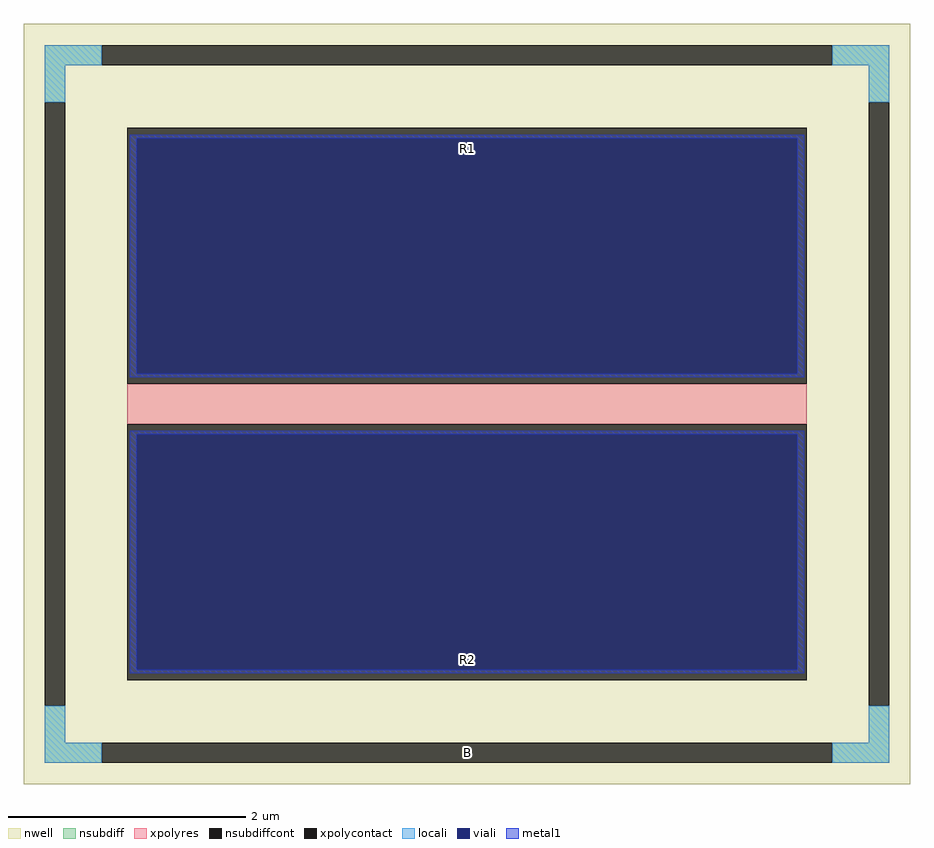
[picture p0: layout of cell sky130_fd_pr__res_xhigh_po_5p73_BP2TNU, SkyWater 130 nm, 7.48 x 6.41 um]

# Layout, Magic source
magic
tech sky130A
magscale 1 2
<< nwell >>
rect -748 -641 748 641
<< nsubdiff >>
rect -712 571 -616 605
rect 616 571 712 605
rect -712 509 -678 571
rect 678 509 712 571
rect -712 -571 -678 -509
rect 678 -571 712 -509
rect -712 -605 -616 -571
rect 616 -605 712 -571
<< nsubdiffcont >>
rect -616 571 616 605
rect -712 -509 -678 509
rect 678 -509 712 509
rect -616 -605 616 -571
<< xpolycontact >>
rect -573 34 573 466
rect -573 -466 573 -34
<< xpolyres >>
rect -573 -34 573 34
<< locali >>
rect -712 571 -616 605
rect 616 571 712 605
rect -712 509 -678 571
rect 678 509 712 571
rect -712 -571 -678 -509
rect 678 -571 712 -509
rect -712 -605 -616 -571
rect 616 -605 712 -571
<< viali >>
rect -557 51 557 448
rect -557 -448 557 -51
<< metal1 >>
rect -569 448 569 454
rect -569 51 -557 448
rect 557 51 569 448
rect -569 45 569 51
rect -569 -51 569 -45
rect -569 -448 -557 -51
rect 557 -448 569 -51
rect -569 -454 569 -448
<< labels >>
rlabel nsubdiffcont 0 -588 0 -588 0 B
port 1 nsew
rlabel xpolycontact 0 431 0 431 0 R1
port 2 nsew
rlabel xpolycontact 0 -431 0 -431 0 R2
port 3 nsew
<< properties >>
string FIXED_BBOX -695 -588 695 588
string gencell sky130_fd_pr__res_xhigh_po_5p73
string library sky130
string parameters w 5.730 l 0.5 m 1 nx 1 wmin 5.730 lmin 0.50 class resistor rho 2000 val 240.209 dummy 0 dw 0.0 term 188.2 sterm 0.0 caplen 0 wmax 5.730 guard 1 glc 1 grc 1 gtc 1 gbc 1 compatible {sky130_fd_pr__res_xhigh_po_0p35  sky130_fd_pr__res_xhigh_po_0p69 sky130_fd_pr__res_xhigh_po_1p41  sky130_fd_pr__res_xhigh_po_2p85 sky130_fd_pr__res_xhigh_po_5p73} snake 0 full_metal 1 n_guard 1 hv_guard 0 vias 1 viagb 0 viagt 0 viagl 0 viagr 0 doports 1
<< end >>
